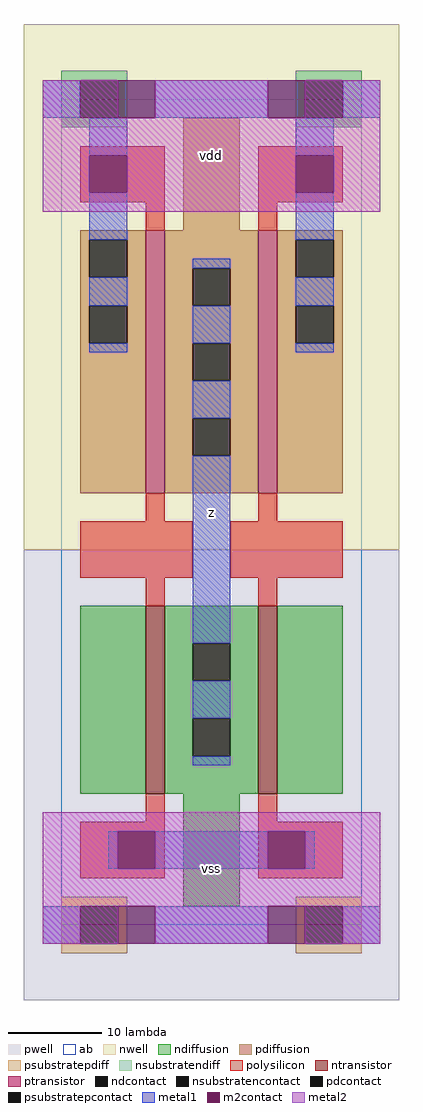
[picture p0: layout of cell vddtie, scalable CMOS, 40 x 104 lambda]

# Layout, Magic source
magic
tech scmos
<< ab >>
rect 0 0 32 88
<< pwell >>
rect -4 -8 36 40
<< nwell >>
rect -4 40 36 96
<< polysilicon >>
rect 2 77 11 83
rect 9 74 11 77
rect 21 77 30 83
rect 21 74 23 77
rect 9 43 11 46
rect 21 43 23 46
rect 2 37 14 43
rect 18 37 30 43
rect 9 34 11 37
rect 21 34 23 37
rect 9 11 11 14
rect 2 5 11 11
rect 21 11 23 14
rect 21 5 30 11
<< ndiffusion >>
rect 2 14 9 34
rect 11 30 21 34
rect 11 26 14 30
rect 18 26 21 30
rect 11 22 21 26
rect 11 18 14 22
rect 18 18 21 22
rect 11 14 21 18
rect 23 14 30 34
rect 13 2 19 14
<< pdiffusion >>
rect 13 74 19 86
rect 2 73 9 74
rect 2 69 3 73
rect 7 69 9 73
rect 2 66 9 69
rect 2 62 3 66
rect 7 62 9 66
rect 2 46 9 62
rect 11 70 21 74
rect 11 66 14 70
rect 18 66 21 70
rect 11 62 21 66
rect 11 58 14 62
rect 18 58 21 62
rect 11 54 21 58
rect 11 50 14 54
rect 18 50 21 54
rect 11 46 21 50
rect 23 73 30 74
rect 23 69 25 73
rect 29 69 30 73
rect 23 66 30 69
rect 23 62 25 66
rect 29 62 30 66
rect 23 46 30 62
<< metal1 >>
rect -2 86 2 90
rect 10 86 22 90
rect 30 86 34 90
rect 3 82 7 86
rect 3 73 7 78
rect 25 82 29 86
rect 25 73 29 78
rect 3 66 7 69
rect 3 61 7 62
rect 14 70 18 71
rect 14 62 18 66
rect 25 66 29 69
rect 25 61 29 62
rect 14 54 18 58
rect 14 30 18 50
rect 14 22 18 26
rect 14 17 18 18
rect 5 6 6 10
rect 10 6 22 10
rect 26 6 27 10
rect -2 -2 2 2
rect 10 -2 22 2
rect 30 -2 34 2
<< metal2 >>
rect -2 86 6 90
rect 10 86 22 90
rect 26 86 34 90
rect -2 82 34 86
rect -2 78 3 82
rect 7 78 25 82
rect 29 78 34 82
rect -2 76 34 78
rect -2 10 34 12
rect -2 6 6 10
rect 10 6 22 10
rect 26 6 34 10
rect -2 2 34 6
rect -2 -2 6 2
rect 10 -2 22 2
rect 26 -2 34 2
<< ntransistor >>
rect 9 14 11 34
rect 21 14 23 34
<< ptransistor >>
rect 9 46 11 74
rect 21 46 23 74
<< ndcontact >>
rect 14 26 18 30
rect 14 18 18 22
<< pdcontact >>
rect 3 69 7 73
rect 3 62 7 66
rect 14 66 18 70
rect 14 58 18 62
rect 14 50 18 54
rect 25 69 29 73
rect 25 62 29 66
<< m2contact >>
rect 6 86 10 90
rect 22 86 26 90
rect 3 78 7 82
rect 25 78 29 82
rect 6 6 10 10
rect 22 6 26 10
rect 6 -2 10 2
rect 22 -2 26 2
<< psubstratepcontact >>
rect 2 -2 6 2
rect 26 -2 30 2
<< nsubstratencontact >>
rect 2 86 6 90
rect 26 86 30 90
<< psubstratepdiff >>
rect 0 2 7 3
rect 25 2 32 3
rect 0 -2 2 2
rect 6 -2 7 2
rect 0 -3 7 -2
rect 25 -2 26 2
rect 30 -2 32 2
rect 25 -3 32 -2
<< nsubstratendiff >>
rect 0 90 7 91
rect 0 86 2 90
rect 6 86 7 90
rect 25 90 32 91
rect 25 86 26 90
rect 30 86 32 90
rect 0 85 7 86
rect 25 85 32 86
<< labels >>
rlabel metal1 16 44 16 44 6 z
rlabel metal2 16 6 16 6 6 vss
rlabel metal2 16 82 16 82 6 vdd
<< end >>
